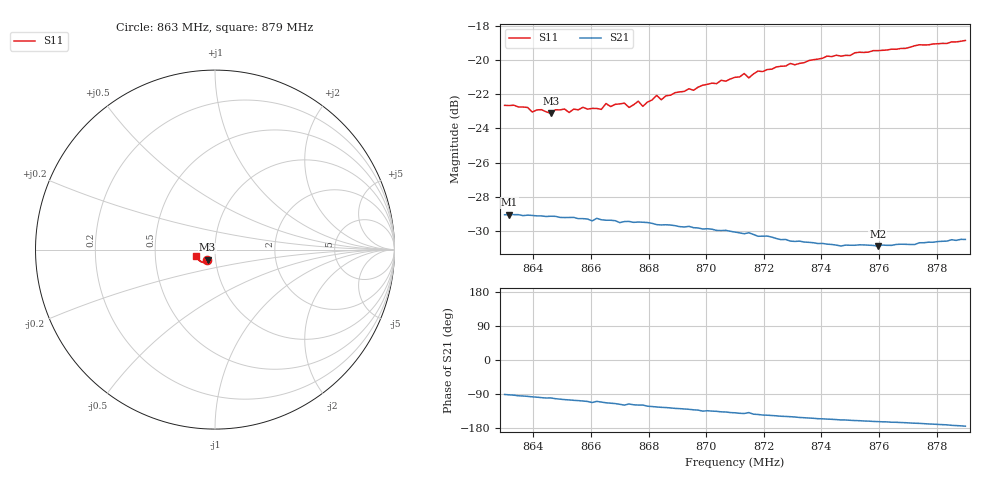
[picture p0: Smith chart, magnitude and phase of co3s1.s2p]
# HZ S RI R 50
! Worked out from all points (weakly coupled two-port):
!   101 points, 863 MHz to 879 MHz, reference 50 ohm
!   highest |S21| = -29.02 dB at 863.16 MHz (marker M1); lowest = -30.9 dB at 875.96 MHz (marker M2)
!   lowest |S11| = -23.1 dB at 864.6 MHz (marker M3), VSWR 1.15, Z = 45.8 - j5.18 ohm
!   |S11| at or under -10 dB: start of sweep to end of sweep
!   S12 and S22 are empty: the file has one direction only
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8.63e8  -0.0445 -0.0587  -0.000596 -0.0354  0 0  0 0
8.6316e8  -0.0439 -0.0591  -0.00123 -0.0354  0 0  0 0
8.646e8  -0.0413 -0.0563  -0.00614 -0.0345  0 0  0 0
8.6572e8  -0.0394 -0.0611  -0.0108 -0.0327  0 0  0 0
8.6636e8  -0.0377 -0.061  -0.0123 -0.0319  0 0  0 0
8.6652e8  -0.0392 -0.0635  -0.0133 -0.0314  0 0  0 0
8.6668e8  -0.0381 -0.0624  -0.0138 -0.0312  0 0  0 0
8.6716e8  -0.0396 -0.0634  -0.0164 -0.0295  0 0  0 0
8.6732e8  -0.036 -0.0631  -0.0148 -0.0304  0 0  0 0
8.6764e8  -0.0396 -0.0646  -0.0163 -0.0295  0 0  0 0
8.678e8  -0.0354 -0.0641  -0.0162 -0.0295  0 0  0 0
8.6828e8  -0.0408 -0.0674  -0.0185 -0.0275  0 0  0 0
8.6844e8  -0.04 -0.0652  -0.0189 -0.0271  0 0  0 0
8.6892e8  -0.043 -0.0678  -0.0201 -0.026  0 0  0 0
8.71e8  -0.0521 -0.0721  -0.0239 -0.0205  0 0  0 0
8.7132e8  -0.0544 -0.0732  -0.0243 -0.0195  0 0  0 0
8.7148e8  -0.0502 -0.073  -0.0236 -0.0207  0 0  0 0
8.718e8  -0.0581 -0.0723  -0.0247 -0.0181  0 0  0 0
8.7372e8  -0.0712 -0.0703  -0.0263 -0.0129  0 0  0 0
8.7596e8  -0.0864 -0.062  -0.0273 -0.00859  0 0  0 0
8.7644e8  -0.0905 -0.0579  -0.0277 -0.00782  0 0  0 0
8.79e8  -0.1076 -0.0372  -0.0298 -0.00279  0 0  0 0
